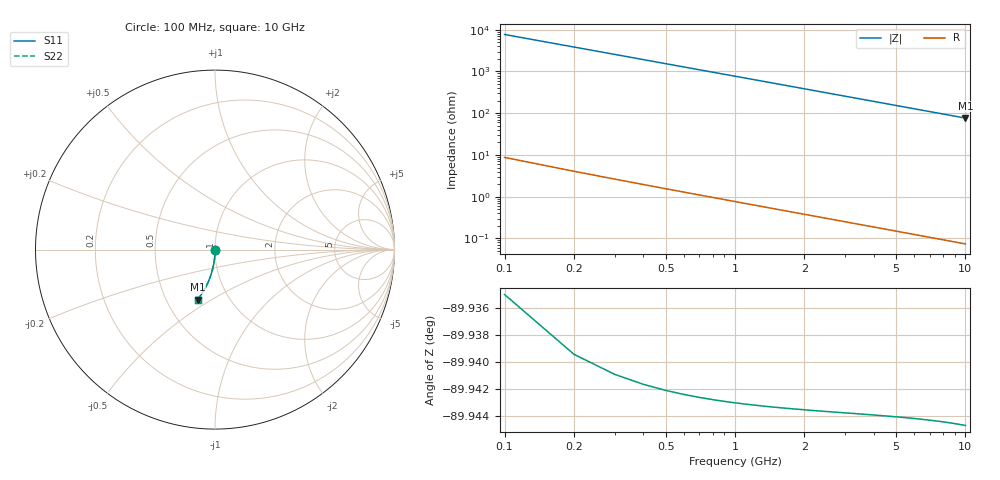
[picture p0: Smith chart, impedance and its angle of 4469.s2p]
# Hz S RI R 50.00
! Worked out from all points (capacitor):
!   100 points, 100 MHz to 10 GHz, reference 50 ohm
!   read as one part in shunt: C = 207 fF near 100 MHz
!   lowest |Z| = 76.5 ohm at 10 GHz (marker M1)
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1e8  4.55e-05 -0.00308  0.9999 -0.00342  0.9999 -0.00342  4.55e-05 -0.00308
2e8  1.12e-05 -0.00615  0.9999 -0.00684  0.9999 -0.00684  1.12e-05 -0.00615
3e8  -4.43e-05 -0.00923  0.9998 -0.0103  0.9998 -0.0103  -4.43e-05 -0.00923
4e8  -0.000121 -0.0123  0.9998 -0.0137  0.9998 -0.0137  -0.000121 -0.0123
5e8  -0.000219 -0.0154  0.9997 -0.0171  0.9997 -0.0171  -0.000219 -0.0154
6e8  -0.000337 -0.0185  0.9995 -0.0205  0.9995 -0.0205  -0.000337 -0.0185
7e8  -0.000477 -0.0215  0.9994 -0.0239  0.9994 -0.0239  -0.000477 -0.0215
8e8  -0.000638 -0.0246  0.9992 -0.0274  0.9992 -0.0274  -0.000638 -0.0246
9e8  -0.00082 -0.0277  0.9991 -0.0308  0.9991 -0.0308  -0.00082 -0.0277
1.1e9  -0.00125 -0.0338  0.9986 -0.0376  0.9986 -0.0376  -0.00125 -0.0338
1.4e9  -0.00204 -0.043  0.9978 -0.0478  0.9978 -0.0478  -0.00204 -0.043
1.8e9  -0.0034 -0.0552  0.9965 -0.0615  0.9965 -0.0615  -0.0034 -0.0552
2.1e9  -0.00464 -0.0644  0.9952 -0.0716  0.9952 -0.0716  -0.00464 -0.0644
2.5e9  -0.00657 -0.0765  0.9933 -0.0851  0.9933 -0.0851  -0.00657 -0.0765
2.9e9  -0.00884 -0.0886  0.991 -0.0986  0.991 -0.0986  -0.00884 -0.0886
3.4e9  -0.0121 -0.1035  0.9877 -0.1153  0.9877 -0.1153  -0.0121 -0.1035
4.2e9  -0.0184 -0.1271  0.9813 -0.1417  0.9813 -0.1417  -0.0184 -0.1271
5.1e9  -0.027 -0.1531  0.9727 -0.1708  0.9727 -0.1708  -0.027 -0.1531
5.9e9  -0.0358 -0.1756  0.9638 -0.1961  0.9638 -0.1961  -0.0358 -0.1756
6.7e9  -0.0458 -0.1974  0.9538 -0.2207  0.9538 -0.2207  -0.0458 -0.1974
8.4e9  -0.0704 -0.2412  0.929 -0.2705  0.929 -0.2705  -0.0704 -0.2412
1e10  -0.0973 -0.2789  0.9019 -0.3139  0.9019 -0.3139  -0.0973 -0.2789
